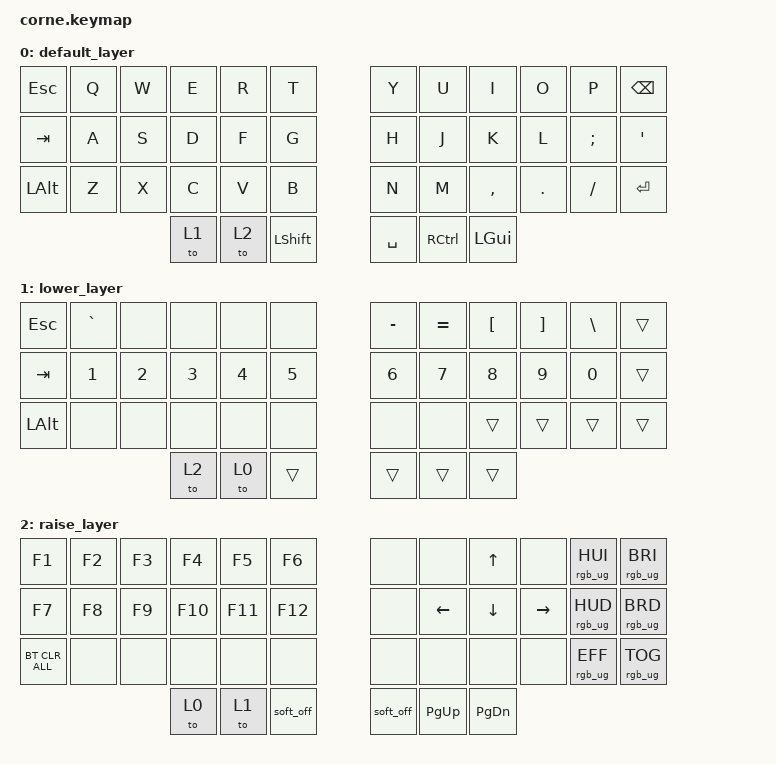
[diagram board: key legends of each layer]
#include <behaviors.dtsi>
#include <dt-bindings/zmk/bt.h>
#include <dt-bindings/zmk/keys.h>
#include <dt-bindings/zmk/rgb.h>

&soft_off {
    hold-time-ms = <3000>;       // Only turn off it the key is held for 5 seconds or longer.
    /delete-property/ split-peripheral-off-on-press;
};

&led_strip { chain-length = <21>; };

/ {
    behaviors {
        new_behavior: new_behavior {
            compatible = "zmk,behavior-mod-morph";
            label = "NEW_BEHAVIOR";
            bindings = <&kp SPACE>, <&bootloader>;

            #binding-cells = <0>;
            mods = <(MOD_LALT)>;
        };
    };

    keymap {
        compatible = "zmk,keymap";

        default_layer {
            // -----------------------------------------------------------------------------------------
            // |  TAB |  Q  |  W  |  E  |  R  |  T  |   |  Y  |  U   |  I  |  O  |  P  | BSPC |
            // | CTRL |  A  |  S  |  D  |  F  |  G  |   |  H  |  J   |  K  |  L  |  ;  |  '   |
            // | SHFT |  Z  |  X  |  C  |  V  |  B  |   |  N  |  M   |  ,  |  .  |  /  | ESC  |
            //                    | GUI | LWR | SPC |   | ENT | RSE  | ALT |

            bindings = <
&kp ESC   &kp Q  &kp W  &kp E  &kp R  &kp T             &kp Y      &kp U      &kp I      &kp O    &kp P     &kp BSPC
&kp TAB   &kp A  &kp S  &kp D  &kp F  &kp G             &kp H      &kp J      &kp K      &kp L    &kp SEMI  &kp SQT
&kp LALT  &kp Z  &kp X  &kp C  &kp V  &kp B             &kp N      &kp M      &kp COMMA  &kp DOT  &kp FSLH  &kp RET
                        &to 1  &to 2  &kp LEFT_SHIFT    &kp SPACE  &kp RCTRL  &kp LGUI
            >;
        };

        lower_layer {
            // -----------------------------------------------------------------------------------------
            // |  TAB |  1  |  2  |  3  |  4  |  5  |   |  6  |  7  |  8  |  9  |  0  | BSPC |
            // | BTCLR| BT1 | BT2 | BT3 | BT4 | BT5 |   | LFT | DWN |  UP | RGT |     |      |
            // | SHFT |     |     |     |     |     |   |     |     |     |     |     |      |
            //                    | GUI |     | SPC |   | ENT |     | ALT |

            bindings = <
&kp ESCAPE    &kp GRAVE  &none   &none   &none   &none     &kp MINUS  &kp EQUAL  &kp LBKT  &kp RBKT  &kp BSLH  &trans
&kp TAB       &kp N1     &kp N2  &kp N3  &kp N4  &kp N5    &kp N6     &kp N7     &kp N8    &kp N9    &kp N0    &trans
&kp LEFT_ALT  &none      &none   &none   &none   &none     &none      &none      &trans    &trans    &trans    &trans
                                 &to 2   &to 0   &trans    &trans     &trans     &trans
            >;
        };

        raise_layer {
            // -----------------------------------------------------------------------------------------
            // |  TAB |  !  |  @  |  #  |  $  |  %  |   |  ^  |  &  |  *  |  (  |  )  | BSPC |
            // | CTRL |     |     |     |     |     |   |  -  |  =  |  [  |  ]  |  \  |  `   |
            // | SHFT |     |     |     |     |     |   |  _  |  +  |  {  |  }  | "|" |  ~   |
            //                    | GUI |     | SPC |   | ENT |     | ALT |

            bindings = <
&kp F1          &kp F2  &kp F3  &kp F4   &kp F5   &kp F6       &none      &none           &kp UP_ARROW    &none            &rgb_ug RGB_HUI  &rgb_ug RGB_BRI
&kp F7          &kp F8  &kp F9  &kp F10  &kp F11  &kp F12      &none      &kp LEFT_ARROW  &kp DOWN_ARROW  &kp RIGHT_ARROW  &rgb_ug RGB_HUD  &rgb_ug RGB_BRD
&bt BT_CLR_ALL  &none   &none   &none    &none    &none        &none      &none           &none           &none            &rgb_ug RGB_EFF  &rgb_ug RGB_TOG
                                &to 0    &to 1    &soft_off    &soft_off  &kp PAGE_UP     &kp PAGE_DOWN
            >;
        };
    };
};
